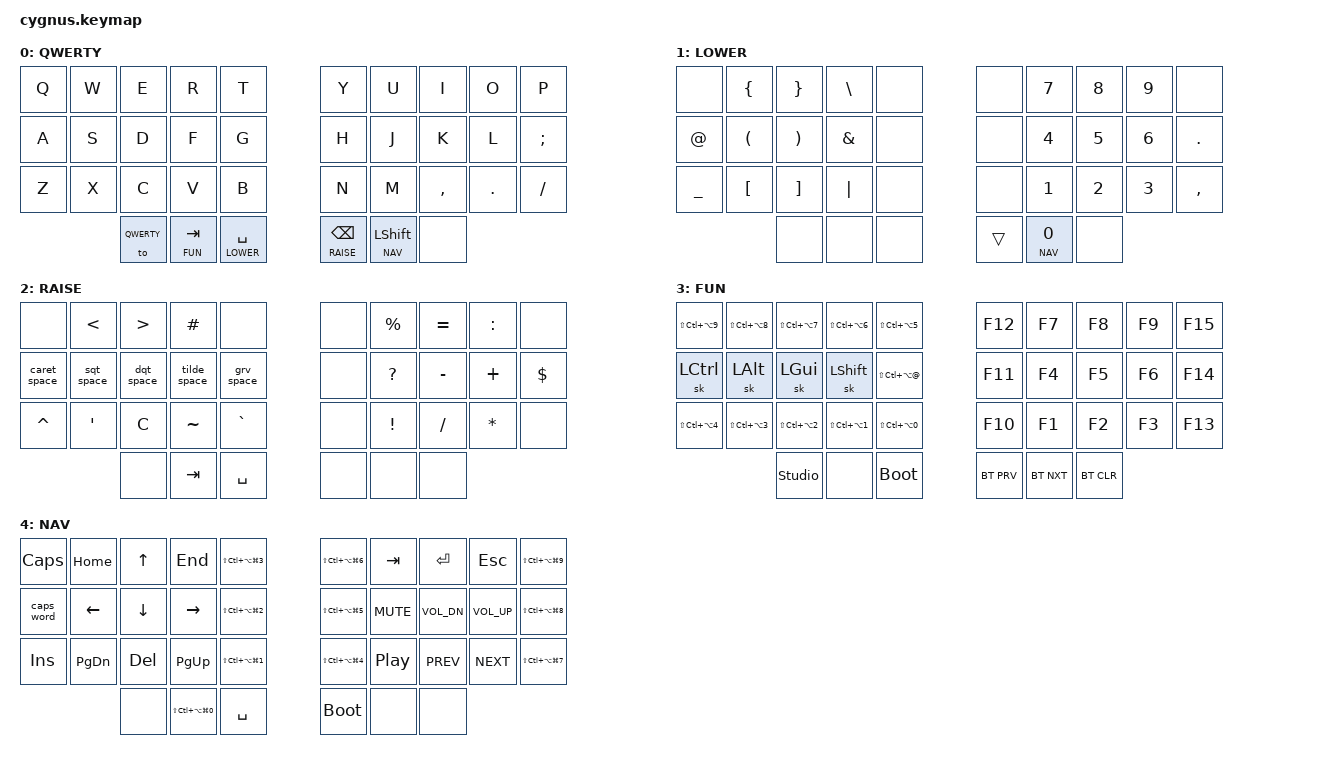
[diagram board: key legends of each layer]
#include <behaviors.dtsi>
#include <dt-bindings/zmk/keys.h>
#include <dt-bindings/zmk/bt.h>

/*
    Cygnus / Corne 5-column physical positions

              ╭────╮ ╭────╮ ╭────╮ ╭────╮ ╭────╮     ╭────╮ ╭────╮ ╭────╮ ╭────╮ ╭────╮
              │  0 │ │  1 │ │  2 │ │  3 │ │  4 │     │  5 │ │  6 │ │  7 │ │  8 │ │  9 │
              ╰────╯ ╰────╯ ╰────╯ ╰────╯ ╰────╯     ╰────╯ ╰────╯ ╰────╯ ╰────╯ ╰────╯
              ╭────╮ ╭────╮ ╭────╮ ╭────╮ ╭────╮     ╭────╮ ╭────╮ ╭────╮ ╭────╮ ╭────╮
              │ 10 │ │ 11 │ │ 12 │ │ 13 │ │ 14 │     │ 15 │ │ 16 │ │ 17 │ │ 18 │ │ 19 │
              ╰────╯ ╰────╯ ╰────╯ ╰────╯ ╰────╯     ╰────╯ ╰────╯ ╰────╯ ╰────╯ ╰────╯
              ╭────╮ ╭────╮ ╭────╮ ╭────╮ ╭────╮     ╭────╮ ╭────╮ ╭────╮ ╭────╮ ╭────╮
              │ 20 │ │ 21 │ │ 22 │ │ 23 │ │ 24 │     │ 25 │ │ 26 │ │ 27 │ │ 28 │ │ 29 │
              ╰────╯ ╰────╯ ╰────╯ ╰────╯ ╰────╯     ╰────╯ ╰────╯ ╰────╯ ╰────╯ ╰────╯
                            ╭────╮ ╭────╮ ╭────╮     ╭────╮ ╭────╮ ╭────╮
                            │ 30 │ │ 31 │ │ 32 │     │ 33 │ │ 34 │ │ 35 │
                            ╰────╯ ╰────╯ ╰────╯     ╰────╯ ╰────╯ ╰────╯
*/

// ▄▄▄▄▄▄▄▄▄▄▄▄▄▄▄▄▄▄▄▄▄▄▄▄▄▄▄▄▄▄▄▄▄▄▄▄▄▄▄▄▄▄▄▄▄▄▄▄▄▄▄▄▄▄▄▄▄▄▄▄▄▄▄▄▄▄▄▄▄▄▄▄▄▄▄▄▄▄▄▄▄▄▄▄▄▄▄▄▄▄▄▄▄▄▄▄▄▄▄▄▄▄▄▄▄▄▄▄▄▄▄▄▄▄▄▄▄▄▄▄▄▄▄▄▄▄▄▄▄▄▄▄▄▄▄▄▄▄▄▄▄▄▄▄▄▄▄▄▄

#define QWERTY 0
#define LOWER  1
#define RAISE  2
#define FUN    3
#define NAV    4

/ {
    behaviors {
         mk: mk {
            compatible = "zmk,behavior-hold-tap";
            #binding-cells = <2>;
            tapping-term-ms = <200>;
            flavor = "tap-preferred";
            bindings = <&mo>, <&sk>;
        };


        sqt_space: sqt_space {
            compatible = "zmk,behavior-macro";
            #binding-cells = <0>;
            bindings = <&macro_tap &kp SQT &kp SPACE>;
        };

        dqt_space: dqt_space {
            compatible = "zmk,behavior-macro";
            #binding-cells = <0>;
            bindings = <&macro_tap &kp DQT &kp SPACE>;
        };

        grv_space: grv_space {
            compatible = "zmk,behavior-macro";
            #binding-cells = <0>;
            bindings = <&macro_tap &kp GRAVE &kp SPACE>;
        };

        tilde_space: tilde_space {
            compatible = "zmk,behavior-macro";
            #binding-cells = <0>;
            bindings = <&macro_tap &kp TILDE &kp SPACE>;
        };

        caret_space: caret_space {
            compatible = "zmk,behavior-macro";
            #binding-cells = <0>;
            bindings = <&macro_tap &kp CARET &kp SPACE>;
        };

    };

    keymap {
        compatible = "zmk,keymap";

// Keyboard layout
//              ╭─────────────┬─────────────┬─────────────┬─────────────┬─────────────╮   ╭─────────────┬─────────────┬─────────────┬─────────────┬─────────────╮
//              ├─────────────┼─────────────┼─────────────┼─────────────┼─────────────┤   ├─────────────┼─────────────┼─────────────┼─────────────┼─────────────┤
//              ├─────────────┼─────────────┼─────────────┼─────────────┼─────────────┤   ├─────────────┼─────────────┼─────────────┼─────────────┼─────────────┤
//              ╰─────────────┴─────────────┼─────────────┼─────────────┼─────────────┤   ├─────────────┼─────────────┼─────────────┼─────────────┴─────────────╯
//                                          ╰─────────────┴─────────────┴─────────────╯   ╰─────────────┴─────────────┴─────────────╯

        qwerty_layer {
            display-name = "QWERTY";
            bindings = <
//              ╭─────────────┬─────────────┬─────────────┬─────────────┬─────────────╮   ╭─────────────┬─────────────┬─────────────┬─────────────┬─────────────╮
                    &kp Q         &kp W         &kp E         &kp R         &kp T             &kp Y         &kp U         &kp I         &kp O        &kp P
//              ├─────────────┼─────────────┼─────────────┼─────────────┼─────────────┤   ├─────────────┼─────────────┼─────────────┼─────────────┼─────────────┤
                    &kp A         &kp S         &kp D         &kp F         &kp G             &kp H         &kp J         &kp K         &kp L        &kp SEMI
//              ├─────────────┼─────────────┼─────────────┼─────────────┼─────────────┤   ├─────────────┼─────────────┼─────────────┼─────────────┼─────────────┤
                    &kp Z         &kp X         &kp C         &kp V         &kp B             &kp N         &kp M        &kp COMMA      &kp DOT      &kp SLASH
//              ╰─────────────┴─────────────┼─────────────┼─────────────┼─────────────┤   ├─────────────┼─────────────┼─────────────┼─────────────┴─────────────╯
                                              &to QWERTY     &lt FUN TAB &lt LOWER SPACE   &lt RAISE BACKSPACE &mk NAV LSHFT    &none
//                                          ╰─────────────┴─────────────┴─────────────╯   ╰─────────────┴─────────────┴─────────────╯
            >;
        };

        lower_layer {
            display-name = "LOWER";
            bindings = <
//              ╭─────────────┬─────────────┬─────────────┬─────────────┬─────────────╮   ╭─────────────┬─────────────┬─────────────┬─────────────┬─────────────╮
                    &none       &kp LBRC      &kp RBRC      &kp BSLH        &none            &none        &kp N7        &kp N8        &kp N9        &none
//              ├─────────────┼─────────────┼─────────────┼─────────────┼─────────────┤   ├─────────────┼─────────────┼─────────────┼─────────────┼─────────────┤
                    &kp AT      &kp LPAR      &kp RPAR      &kp AMPS        &none            &none        &kp N4        &kp N5        &kp N6      &kp DOT
//              ├─────────────┼─────────────┼─────────────┼─────────────┼─────────────┤   ├─────────────┼─────────────┼─────────────┼─────────────┼─────────────┤
            &kp UNDERSCORE      &kp LBKT      &kp RBKT      &kp PIPE        &none            &none        &kp N1        &kp N2        &kp N3    &kp COMMA
//              ╰─────────────┴─────────────┼─────────────┼─────────────┼─────────────┤   ├─────────────┼─────────────┼─────────────┼─────────────┴─────────────╯
                                                &none         &none         &none            &trans     &lt NAV N0       &none
//                                          ╰─────────────┴─────────────┴─────────────╯   ╰─────────────┴─────────────┴─────────────╯
            >;
        };

        raise_layer {
            display-name = "RAISE";
            bindings = <
//              ╭─────────────┬─────────────┬─────────────┬─────────────┬─────────────╮   ╭─────────────┬─────────────┬─────────────┬─────────────┬─────────────╮
                    &none         &kp LT        &kp GT      &kp HASH        &none              &none      &kp PERCENT    &kp EQUAL     &kp COLON        &none
//              ├─────────────┼─────────────┼─────────────┼─────────────┼─────────────┤   ├─────────────┼─────────────┼─────────────┼─────────────┼─────────────┤
                  &caret_space   &sqt_space   &dqt_space    &tilde_space  &grv_space           &none      &kp QUESTION   &kp MINUS     &kp PLUS      &kp DOLLAR
//              ├─────────────┼─────────────┼─────────────┼─────────────┼─────────────┤   ├─────────────┼─────────────┼─────────────┼─────────────┼─────────────┤
                   &kp CARET      &kp SQT         &kp C    &kp TILDE      &kp GRAVE            &none       &kp EXCL     &kp SLASH      &kp STAR        &none
//              ╰─────────────┴─────────────┼─────────────┼─────────────┼─────────────┤   ├─────────────┼─────────────┼─────────────┼─────────────┴─────────────╯
                                                &none       &kp TAB     &kp SPACE              &none        &none        &none
//                                          ╰─────────────┴─────────────┴─────────────╯   ╰─────────────┴─────────────┴─────────────╯
            >;
        };

        functions_layer {
            display-name = "FUN";
            bindings = <
//              ╭─────────────┬─────────────┬─────────────┬─────────────┬─────────────╮   ╭─────────────┬─────────────┬─────────────┬─────────────┬─────────────╮
          &kp LS(LC(LA(N9))) &kp LS(LC(LA(N8))) &kp LS(LC(LA(N7))) &kp LS(LC(LA(N6))) &kp LS(LC(LA(N5)))  &kp F12       &kp F7        &kp F8        &kp F9       &kp F15
//              ├─────────────┼─────────────┼─────────────┼─────────────┼─────────────┤   ├─────────────┼─────────────┼─────────────┼─────────────┼─────────────┤
                  &sk LCTRL      &sk LALT     &sk LGUI      &sk LSHFT &kp LS(LC(LA(AT)))       &kp F11       &kp F4        &kp F5        &kp F6       &kp F14
//              ├─────────────┼─────────────┼─────────────┼─────────────┼─────────────┤   ├─────────────┼─────────────┼─────────────┼─────────────┼─────────────┤
          &kp LS(LC(LA(N4))) &kp LS(LC(LA(N3))) &kp LS(LC(LA(N2))) &kp LS(LC(LA(N1))) &kp LS(LC(LA(N0)))  &kp F10       &kp F1        &kp F2        &kp F3       &kp F13
//              ╰─────────────┴─────────────┼─────────────┼─────────────┼─────────────┤   ├─────────────┼─────────────┼─────────────┼─────────────┴─────────────╯
                                       &studio_unlock       &none    &bootloader       &bt BT_PRV    &bt BT_NXT    &bt BT_CLR
//                                          ╰─────────────┴─────────────┴─────────────╯   ╰─────────────┴─────────────┴─────────────╯
            >;
        };

        navigation_layer {
            display-name = "NAV";
            bindings = <
//              ╭─────────────┬─────────────┬─────────────┬─────────────┬─────────────╮   ╭─────────────┬─────────────┬─────────────┬─────────────┬─────────────╮
              &kp CAPSLOCK    &kp HOME       &kp UP      &kp END &kp LS(LC(LA(LG(N3)))) &kp LS(LC(LA(LG(N6)))) &kp TAB     &kp ENTER      &kp ESC &kp LS(LC(LA(LG(N9))))
//              ├─────────────┼─────────────┼─────────────┼─────────────┼─────────────┤   ├─────────────┼─────────────┼─────────────┼─────────────┼─────────────┤
                &caps_word    &kp LEFT     &kp DOWN    &kp RIGHT &kp LS(LC(LA(LG(N2)))) &kp LS(LC(LA(LG(N5)))) &kp C_MUTE &kp C_VOL_DN  &kp C_VOL_UP &kp LS(LC(LA(LG(N8))))
//              ├─────────────┼─────────────┼─────────────┼─────────────┼─────────────┤   ├─────────────┼─────────────┼─────────────┼─────────────┼─────────────┤
                   &kp INS    &kp PG_DN      &kp DEL    &kp PG_UP &kp LS(LC(LA(LG(N1)))) &kp LS(LC(LA(LG(N4)))) &kp C_PP   &kp C_PREV   &kp C_NEXT &kp LS(LC(LA(LG(N7))))
//              ╰─────────────┴─────────────┼─────────────┼─────────────┼─────────────┤   ├─────────────┼─────────────┼─────────────┼─────────────┴─────────────╯
                                                &none &kp LS(LC(LA(LG(N0)))) &kp SPACE       &bootloader       &none       &none
//                                          ╰─────────────┴─────────────┴─────────────╯   ╰─────────────┴─────────────┴─────────────╯
            >;
        };

        layer6 {
            status = "reserved";
        };

        layer7 {
            status = "reserved";
        };

        layer8 {
            status = "reserved";
        };

        layer9 {
            status = "reserved";
        };

        layer10 {
            status = "reserved";
        };

// ▄▄▄▄▄▄▄▄▄▄▄▄▄▄▄▄▄▄▄▄▄▄▄▄▄▄▄▄▄▄▄▄▄▄▄▄▄▄▄▄▄▄▄▄▄▄▄▄▄▄▄▄▄▄▄▄▄▄▄▄▄▄▄▄▄▄▄▄▄▄▄▄▄▄▄▄▄▄▄▄▄▄▄▄▄▄▄▄▄▄▄▄▄▄▄▄▄▄▄▄▄▄▄▄▄▄▄▄▄▄▄▄▄▄▄▄▄▄▄▄▄▄▄▄▄▄▄▄▄▄▄▄▄▄▄▄▄▄▄▄▄▄▄▄▄▄▄▄▄

    };
};
